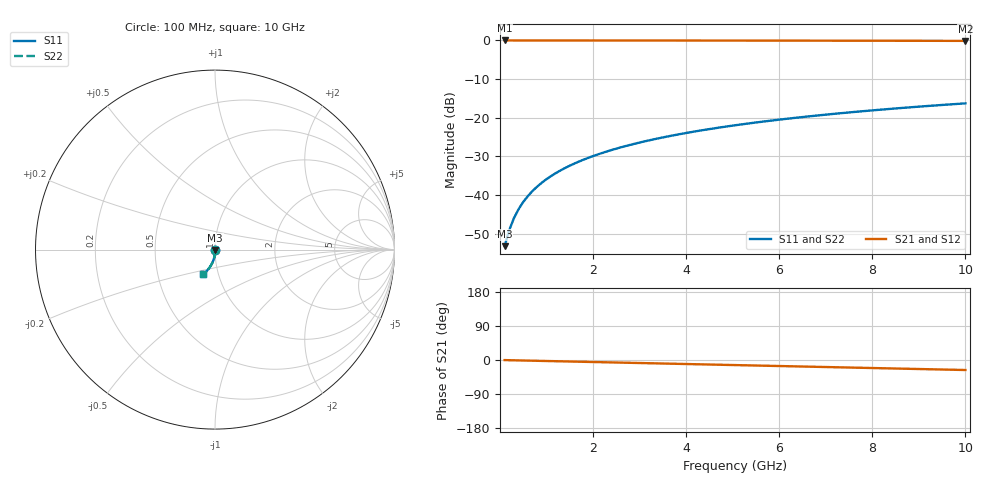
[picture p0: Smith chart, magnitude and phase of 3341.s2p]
# Hz S RI R 50.00
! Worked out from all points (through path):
!   100 points, 100 MHz to 10 GHz, reference 50 ohm
!   highest |S21| = -0.01 dB at 100 MHz (marker M1); lowest = -0.1 dB at 10 GHz (marker M2)
!   group delay of S21, straight-line fit = 7.34 ps
!   lowest |S11| = -53.3 dB at 100 MHz (marker M3), VSWR 1.00, Z = 50.1 - j0.16 ohm
!   |S11| at or under -10 dB: start of sweep to end of sweep
!   |S22| runs from -53.3 to -16.3 dB; largest |S21 - S12| = 0
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1e8  0.00147 -0.0016  0.9985 -0.00463  0.9985 -0.00463  0.00147 -0.0016
2e8  0.00145 -0.0032  0.9985 -0.00925  0.9985 -0.00925  0.00145 -0.0032
3e8  0.00142 -0.00479  0.9984 -0.0139  0.9984 -0.0139  0.00142 -0.00479
4e8  0.00137 -0.00639  0.9983 -0.0185  0.9983 -0.0185  0.00137 -0.00639
5e8  0.00131 -0.00799  0.9982 -0.0231  0.9982 -0.0231  0.00131 -0.00799
6e8  0.00123 -0.00958  0.998 -0.0277  0.998 -0.0277  0.00123 -0.00958
7e8  0.00113 -0.0112  0.9979 -0.0324  0.9979 -0.0324  0.00113 -0.0112
8e8  0.00102 -0.0128  0.9977 -0.037  0.9977 -0.037  0.00102 -0.0128
9e8  0.000898 -0.0144  0.9975 -0.0416  0.9975 -0.0416  0.000898 -0.0144
1.1e9  0.000603 -0.0176  0.997 -0.0509  0.997 -0.0509  0.000603 -0.0176
1.4e9  5.02e-05 -0.0223  0.9961 -0.0647  0.9961 -0.0647  5.02e-05 -0.0223
1.8e9  -0.000894 -0.0286  0.9945 -0.0831  0.9945 -0.0831  -0.000894 -0.0286
2.1e9  -0.00176 -0.0334  0.9931 -0.0969  0.9931 -0.0969  -0.00176 -0.0334
2.5e9  -0.00311 -0.0396  0.9909 -0.1153  0.9909 -0.1153  -0.00311 -0.0396
2.9e9  -0.00469 -0.0458  0.9883 -0.1336  0.9883 -0.1336  -0.00469 -0.0458
3.4e9  -0.00699 -0.0534  0.9845 -0.1563  0.9845 -0.1563  -0.00699 -0.0534
4.2e9  -0.0114 -0.0654  0.9773 -0.1925  0.9773 -0.1925  -0.0114 -0.0654
5.1e9  -0.0174 -0.0785  0.9674 -0.2327  0.9674 -0.2327  -0.0174 -0.0785
5.9e9  -0.0236 -0.0896  0.9571 -0.268  0.9571 -0.268  -0.0236 -0.0896
6.7e9  -0.0306 -0.1003  0.9453 -0.3027  0.9453 -0.3027  -0.0306 -0.1003
8.4e9  -0.0479 -0.121  0.916 -0.3744  0.916 -0.3744  -0.0479 -0.121
1e10  -0.0668 -0.1377  0.8831 -0.4388  0.8831 -0.4388  -0.0668 -0.1377
